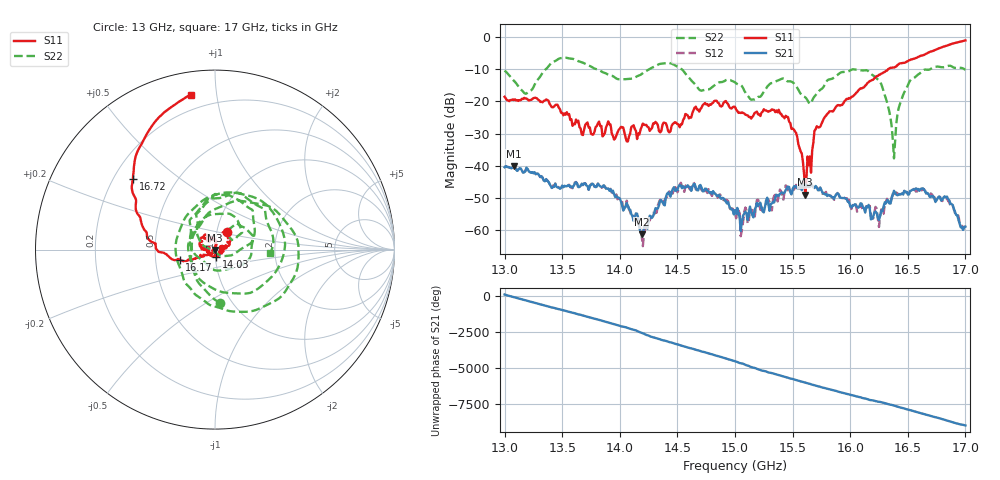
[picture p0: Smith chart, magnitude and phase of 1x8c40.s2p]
!Keysight Technologies,P9374A,MY57211807,A.19.30.04
!Date: Friday, May 08, 2026 15:11:07
!Correction: S11(C  2-Port  )
!S21(C  2-Port  )
!S12(C  2-Port  )
!S22(C  2-Port  )
!S2P File: Measurements: S11, S21, S12, S22:
# Hz S  dB  R 50
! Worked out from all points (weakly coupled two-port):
!   401 points, 13 GHz to 17 GHz, reference 50 ohm
!   highest |S21| = -40.02 dB at 13.08 GHz (marker M1); lowest = -61.2 dB at 14.19 GHz (marker M2)
!   lowest |S11| = -48.9 dB at 15.61 GHz (marker M3), VSWR 1.01, Z = 49.8 - j0.261 ohm
!   |S11| at or under -10 dB: start of sweep to 16.33 GHz
!   |S22| runs from -37.7 to -6.5 dB; largest |S21 - S12| = 0.00087
!   S11 on the Smith chart (normalised r, x): 13 GHz: 1.12, +0.22; 14.03 GHz: 1.01, -0.08; 16.17 GHz: 0.67, -0.08; 16.72 GHz: 0.28, +0.34; 17 GHz: 0.12, +0.85
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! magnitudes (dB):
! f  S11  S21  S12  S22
! 13 GHz  -18.6  -40.5  -40.4  -10.5
! 13.08 GHz  -19.6  -40.0  -40.0  -13.6
! 13.19 GHz  -19.2  -40.7  -40.5  -17.6
! 13.46 GHz  -21.1  -46.7  -46.5  -7.1
! 13.67 GHz  -30.3  -45.5  -45.7  -7.9
! 14.03 GHz  -28.2  -53.8  -53.3  -13.2
! 14.19 GHz  -27.8  -61.2  -61.7  -11.6
! 14.34 GHz  -29.2  -52.3  -51.3  -8.5
! 14.65 GHz  -22.0  -45.6  -45.8  -14.6
! 15 GHz  -21.7  -53.7  -54.7  -14.2
! 15.16 GHz  -24.4  -56.0  -56.4  -19.4
! 15.46 GHz  -24.9  -46.4  -47.6  -13.8
! 15.61 GHz  -48.9  -45.5  -46.3  -18.8
! 15.67 GHz  -35.2  -46.1  -46.1  -19.8
! 15.8 GHz  -23.9  -49.3  -49.7  -13.6
! 16.17 GHz  -13.8  -53.3  -52.4  -11.1
! 16.34 GHz  -9.9  -51.6  -51.6  -23.3
! 16.38 GHz  -9.6  -47.7  -47.9  -37.7
! 16.51 GHz  -7.3  -48.9  -48.6  -14.3
! 16.72 GHz  -4.4  -49.6  -49.5  -9.6
! 16.84 GHz  -2.8  -49.5  -50.1  -9.2
! 17 GHz  -1.2  -58.8  -58.9  -10.3
